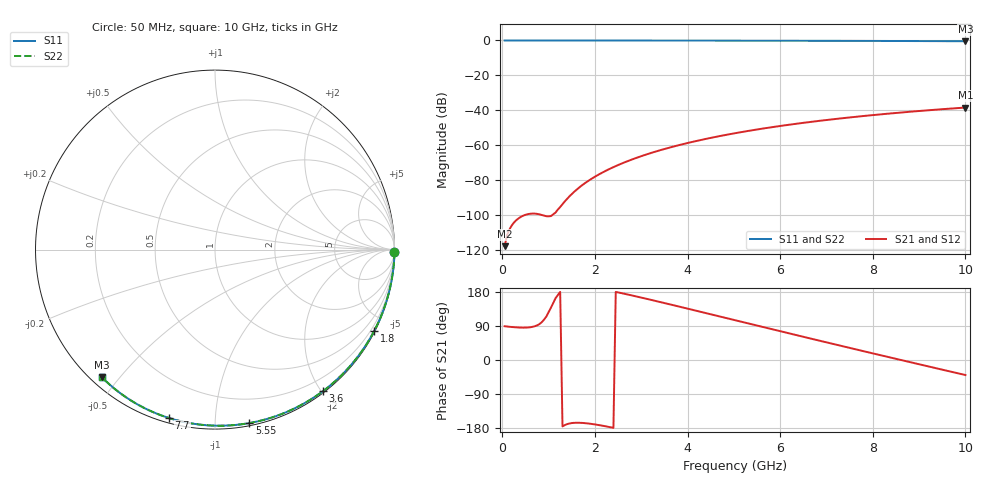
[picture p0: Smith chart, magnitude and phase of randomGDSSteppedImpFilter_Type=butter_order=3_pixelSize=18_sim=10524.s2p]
! freq	dB(S11)	phase(S11)	dB(S12)	phase(S12)
!  dB(S21)	phase(S21)	dB(S22)	phase(S22)
!S-par simulation data
#  GHz  S  DB  R 50
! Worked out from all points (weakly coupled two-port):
!   200 points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, 50 MHz to 10 GHz, reference 50 ohm
!   highest |S21| = -38.46 dB at 10 GHz (marker M1); lowest = -117.9 dB at 50 MHz (marker M2)
!   lowest |S11| = -0.4 dB at 10 GHz (marker M3), VSWR 39.04, Z = 1.54 - j22.4 ohm
!   |S11| at or under -10 dB: nowhere
!   |S22| runs from -0.4 to 0.0 dB; largest |S21 - S12| = 0
!   S11 on the Smith chart (normalised r, x): 50 MHz: open; 1.8 GHz: 0.04, -4.17; 3.6 GHz: 0.02, -2.02; 5.55 GHz: 0.02, -1.22; 7.7 GHz: 0.02, -0.76; 10 GHz: 0.03, -0.45
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0.05  -0.00 -0.8  -117.93 89.2  -117.93 89.2  -0.00 -0.8
0.9  -0.02 -13.6  -100.43 106.4  -100.43 106.4  -0.02 -13.6
1.75  -0.03 -26.3  -82.48 -166.2  -82.48 -166.2  -0.03 -26.3
1.8  -0.03 -27.0  -81.52 -166.8  -81.52 -166.8  -0.03 -27.0
1.85  -0.04 -27.7  -80.62 -167.4  -80.62 -167.4  -0.04 -27.7
1.9  -0.04 -28.5  -79.75 -168.2  -79.75 -168.2  -0.04 -28.5
2.05  -0.04 -30.7  -77.34 -171.0  -77.34 -171.0  -0.04 -30.7
2.25  -0.04 -33.6  -74.50 -175.4  -74.50 -175.4  -0.04 -33.6
2.45  -0.05 -36.5  -72.01 179.7  -72.01 179.7  -0.05 -36.5
2.65  -0.05 -39.3  -69.77 174.4  -69.77 174.4  -0.05 -39.3
3  -0.06 -44.3  -66.34 164.8  -66.34 164.8  -0.06 -44.3
3.4  -0.07 -50.0  -62.99 153.3  -62.99 153.3  -0.07 -50.0
3.6  -0.07 -52.8  -61.50 147.4  -61.50 147.4  -0.07 -52.8
4.3  -0.09 -62.4  -56.98 126.7  -56.98 126.7  -0.09 -62.4
5.05  -0.11 -72.3  -53.05 104.3  -53.05 104.3  -0.11 -72.3
5.55  -0.13 -78.8  -50.82 89.4  -50.82 89.4  -0.13 -78.8
6.1  -0.15 -85.8  -48.65 73.1  -48.65 73.1  -0.15 -85.8
6.7  -0.18 -93.2  -46.56 55.3  -46.56 55.3  -0.18 -93.2
7.7  -0.24 -105.3  -43.58 26.1  -43.58 26.1  -0.24 -105.3
8.35  -0.29 -112.9  -41.92 7.4  -41.92 7.4  -0.29 -112.9
9.15  -0.36 -122.1  -40.12 -15.5  -40.12 -15.5  -0.36 -122.1
10  -0.45 -131.7  -38.46 -39.7  -38.46 -39.7  -0.45 -131.7
